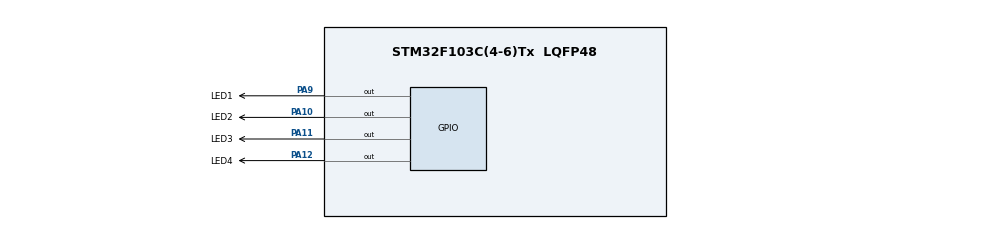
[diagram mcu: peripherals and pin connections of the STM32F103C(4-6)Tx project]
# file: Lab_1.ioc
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Mcu.Family=STM32F1
Mcu.Name=STM32F103C(4-6)Tx
Mcu.Package=LQFP48
NVIC.PriorityGroup=NVIC_PRIORITYGROUP_4
PA10.GPIO_Label=LED2
PA10.Signal=GPIO_Output
PA11.GPIO_Label=LED3
PA11.Signal=GPIO_Output
PA12.GPIO_Label=LED4
PA12.Signal=GPIO_Output
PA9.GPIO_Label=LED1
PA9.Signal=GPIO_Output
ProjectManager.HeapSize=0x200
ProjectManager.StackSize=0x400
ProjectManager.TargetToolchain=STM32CubeIDE
RCC.APB1Freq_Value=8000000
RCC.APB2Freq_Value=8000000
VP_SYS_VS_ND.Mode=No_Debug
board=custom

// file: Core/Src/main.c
/* USER CODE BEGIN Header */
/**
  ******************************************************************************
  * @file           : main.c
  * @brief          : Main program body
  ******************************************************************************
  * @attention
  *
  * <h2><center>&copy; Copyright (c) 2021 STMicroelectronics.
  * All rights reserved.</center></h2>
  *
  * This software component is licensed by ST under BSD 3-Clause license,
  * the "License"; You may not use this file except in compliance with the
  * License. You may obtain a copy of the License at:
  *                        opensource.org/licenses/BSD-3-Clause
  *
  ******************************************************************************
  */
/* USER CODE END Header */
#include "main.h"

void SystemClock_Config(void);
static void MX_GPIO_Init(void);

int main(void)
{

  /* MCU Configuration--------------------------------------------------------*/

  /* Reset of all peripherals, Initializes the Flash interface and the Systick. */
  HAL_Init();

  /* Configure the system clock */
  SystemClock_Config();

  /* Initialize all configured peripherals */
  MX_GPIO_Init();
  /* USER CODE BEGIN 2 */
#define toggleLED1 HAL_GPIO_TogglePin(LED1_GPIO_Port, LED1_Pin);
#define toggleLED2 HAL_GPIO_TogglePin(LED2_GPIO_Port, LED2_Pin);
#define toggleLED3 HAL_GPIO_TogglePin(LED3_GPIO_Port, LED3_Pin);
#define toggleLED4 HAL_GPIO_TogglePin(LED4_GPIO_Port, LED4_Pin);
#define delay(n) HAL_Delay(n);
  toggleLED1
  toggleLED2
  toggleLED3
  toggleLED4
  /* USER CODE END 2 */

  /* Infinite loop */
  /* USER CODE BEGIN WHILE */
  while (1)
  {
	  toggleLED1
	  delay(500)
	  toggleLED1
	  toggleLED2
	  delay(500)
	  toggleLED2
	  toggleLED3
	  delay(500)
	  toggleLED3
	  toggleLED4
	  delay(500)
	  toggleLED4
    /* USER CODE END WHILE */

  }
}

void SystemClock_Config(void)
{
  RCC_OscInitTypeDef RCC_OscInitStruct = {0};
  RCC_ClkInitTypeDef RCC_ClkInitStruct = {0};

  /** Initializes the RCC Oscillators according to the specified parameters
  * in the RCC_OscInitTypeDef structure.
  */
  RCC_OscInitStruct.OscillatorType = RCC_OSCILLATORTYPE_HSI;
  RCC_OscInitStruct.HSIState = RCC_HSI_ON;
  RCC_OscInitStruct.HSICalibrationValue = RCC_HSICALIBRATION_DEFAULT;
  RCC_OscInitStruct.PLL.PLLState = RCC_PLL_NONE;
  if (HAL_RCC_OscConfig(&RCC_OscInitStruct) != HAL_OK)
  {
    Error_Handler();
  }
  /** Initializes the CPU, AHB and APB buses clocks
  */
  RCC_ClkInitStruct.ClockType = RCC_CLOCKTYPE_HCLK|RCC_CLOCKTYPE_SYSCLK
                              |RCC_CLOCKTYPE_PCLK1|RCC_CLOCKTYPE_PCLK2;
  RCC_ClkInitStruct.SYSCLKSource = RCC_SYSCLKSOURCE_HSI;
  RCC_ClkInitStruct.AHBCLKDivider = RCC_SYSCLK_DIV1;
  RCC_ClkInitStruct.APB1CLKDivider = RCC_HCLK_DIV1;
  RCC_ClkInitStruct.APB2CLKDivider = RCC_HCLK_DIV1;

  if (HAL_RCC_ClockConfig(&RCC_ClkInitStruct, FLASH_LATENCY_0) != HAL_OK)
  {
    Error_Handler();
  }
}

static void MX_GPIO_Init(void)
{
  GPIO_InitTypeDef GPIO_InitStruct = {0};

  /* GPIO Ports Clock Enable */
  __HAL_RCC_GPIOA_CLK_ENABLE();

  /*Configure GPIO pin Output Level */
  HAL_GPIO_WritePin(GPIOA, LED1_Pin|LED2_Pin|LED3_Pin|LED4_Pin, GPIO_PIN_RESET);

  /*Configure GPIO pins : LED1_Pin LED2_Pin LED3_Pin LED4_Pin */
  GPIO_InitStruct.Pin = LED1_Pin|LED2_Pin|LED3_Pin|LED4_Pin;
  GPIO_InitStruct.Mode = GPIO_MODE_OUTPUT_PP;
  GPIO_InitStruct.Pull = GPIO_NOPULL;
  GPIO_InitStruct.Speed = GPIO_SPEED_FREQ_LOW;
  HAL_GPIO_Init(GPIOA, &GPIO_InitStruct);

}

void Error_Handler(void)
{
  __disable_irq();
  while (1)
  {
  }
}

/************************ (C) COPYRIGHT STMicroelectronics *****END OF FILE****/
